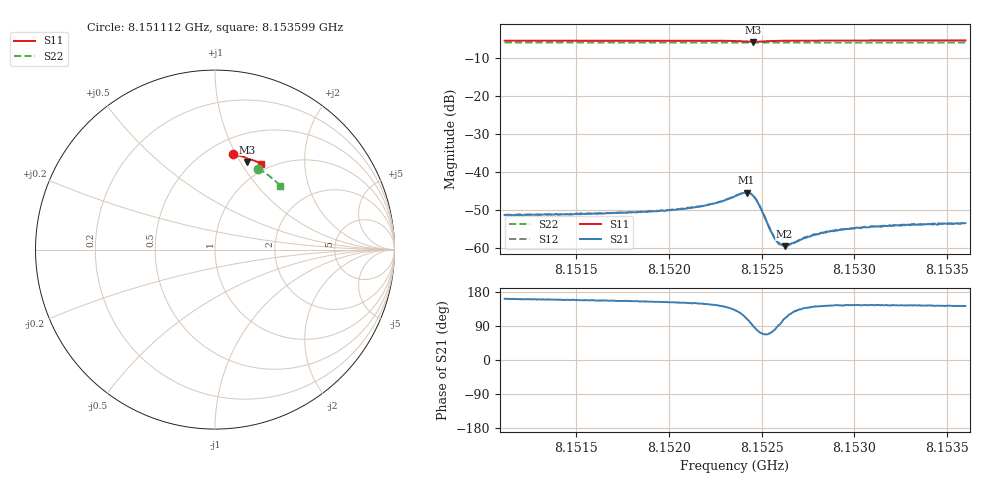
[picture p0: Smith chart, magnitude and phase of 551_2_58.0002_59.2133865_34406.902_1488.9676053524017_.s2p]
#  HZ  S  RI  R  50.00
! Rohde & Schwarz Vector Network Analyzer
! Rohde-Schwarz,ZNB20-2Port,1311601062101988,3.16
! Created: UTC 3/21/2024, 1:15:00 AM
! freq[Hz]  re:S11  im:S11  re:S21  im:S21  re:S12  im:S12  re:S22  im:S22
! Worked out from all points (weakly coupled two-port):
!   401 points, 8.151112 GHz to 8.153599 GHz, reference 50 ohm
!   highest |S21| = -45.39 dB at 8.152418 GHz (marker M1); lowest = -59.5 dB at 8.152623 GHz (marker M2)
!   lowest |S11| = -5.7 dB at 8.152455 GHz (marker M3), VSWR 3.17, Z = 40 + j53.6 ohm
!   |S11| at or under -10 dB: nowhere
!   |S22| runs from -5.9 to -5.8 dB; largest |S21 - S12| = 0.00011
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8.1511123e9  0.0983 0.5304  -0.00257 0.000864  -0.00261 0.000906  0.2403 0.4514
8.1515289e9  0.1271 0.5248  -0.00259 0.00106  -0.00265 0.00108  0.2632 0.4379
8.1519454e9  0.1562 0.5174  -0.00276 0.00138  -0.00273 0.00142  0.2855 0.423
8.1521817e9  0.174 0.5111  -0.00304 0.00184  -0.00304 0.00194  0.2976 0.414
8.1522501e9  0.1795 0.5082  -0.00319 0.00225  -0.00316 0.00228  0.3012 0.4114
8.1523558e9  0.188 0.4999  -0.00319 0.00361  -0.00317 0.00366  0.3064 0.4069
8.152418e9  0.187 0.4902  -0.00183 0.00505  -0.00179 0.00513  0.3091 0.4043
8.1524366e9  0.1837 0.4884  -0.000865 0.00518  -0.000858 0.00522  0.31 0.4035
8.1524553e9  0.1802 0.4887  9.83e-05 0.00481  0.000142 0.00487  0.3107 0.403
8.1524864e9  0.1764 0.4933  0.00103 0.00355  0.00108 0.00357  0.312 0.402
8.1525423e9  0.1802 0.501  0.000601 0.00168  0.000645 0.00176  0.315 0.4
8.152561e9  0.1824 0.5022  0.00035 0.00145  0.000378 0.00144  0.3161 0.3993
8.1525796e9  0.1846 0.5029  9.73e-05 0.00123  0.000153 0.00124  0.3169 0.3987
8.1525983e9  0.1867 0.5034  -7.54e-05 0.00112  -7.9e-05 0.00111  0.3179 0.398
8.1526232e9  0.1894 0.5035  -0.000347 0.000999  -0.000293 0.00103  0.3191 0.3968
8.152648e9  0.1919 0.5034  -0.000568 0.000983  -0.000532 0.000962  0.3204 0.3959
8.1527226e9  0.1986 0.5023  -0.000959 0.000926  -0.000939 0.000958  0.3241 0.3928
8.1527724e9  0.2027 0.5012  -0.00113 0.000947  -0.00111 0.000975  0.3266 0.3906
8.152847e9  0.2084 0.4995  -0.00127 0.000958  -0.00132 0.000985  0.3303 0.3876
8.1529403e9  0.2151 0.4972  -0.00145 0.00104  -0.00141 0.00105  0.3347 0.3835
8.153189e9  0.2319 0.4902  -0.00161 0.00116  -0.00162 0.00119  0.3461 0.3728
8.1535993e9  0.2581 0.4777  -0.00169 0.0013  -0.00167 0.0013  0.3642 0.3541
